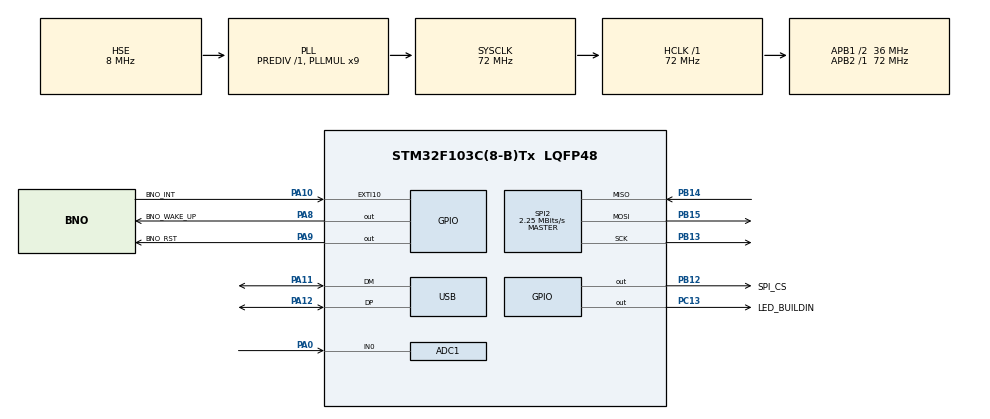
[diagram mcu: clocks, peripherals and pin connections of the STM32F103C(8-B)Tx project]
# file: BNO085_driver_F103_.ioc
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ADC1.Channel-2\#ChannelRegularConversion=ADC_CHANNEL_0
ADC1.NbrOfConversionFlag=1
ADC1.Rank-2\#ChannelRegularConversion=1
ADC1.SamplingTime-2\#ChannelRegularConversion=ADC_SAMPLETIME_1CYCLE_5
ADC1.master=1
Dma.Request0=SPI2_RX
Dma.Request1=SPI2_TX
Dma.SPI2_RX.0.Direction=DMA_PERIPH_TO_MEMORY
Dma.SPI2_RX.0.Instance=DMA1_Channel4
Dma.SPI2_RX.0.MemDataAlignment=DMA_MDATAALIGN_BYTE
Dma.SPI2_RX.0.MemInc=DMA_MINC_ENABLE
Dma.SPI2_RX.0.Mode=DMA_NORMAL
Dma.SPI2_RX.0.PeriphDataAlignment=DMA_PDATAALIGN_BYTE
Dma.SPI2_RX.0.PeriphInc=DMA_PINC_DISABLE
Dma.SPI2_RX.0.Priority=DMA_PRIORITY_LOW
Dma.SPI2_TX.1.Direction=DMA_MEMORY_TO_PERIPH
Dma.SPI2_TX.1.Instance=DMA1_Channel5
Dma.SPI2_TX.1.MemDataAlignment=DMA_MDATAALIGN_BYTE
Dma.SPI2_TX.1.MemInc=DMA_MINC_ENABLE
Dma.SPI2_TX.1.Mode=DMA_NORMAL
Dma.SPI2_TX.1.PeriphDataAlignment=DMA_PDATAALIGN_BYTE
Dma.SPI2_TX.1.PeriphInc=DMA_PINC_DISABLE
Dma.SPI2_TX.1.Priority=DMA_PRIORITY_LOW
FREERTOS.Tasks01=defaultTask,24,128,StartDefaultTask,Default,NULL,Dynamic,NULL,NULL
FREERTOS.configUSE_NEWLIB_REENTRANT=1
Mcu.Family=STM32F1
Mcu.Name=STM32F103C(8-B)Tx
Mcu.Package=LQFP48
NVIC.DMA1_Channel4_IRQn=true\:5\:0\:false\:false\:true\:true\:false\:true\:true
NVIC.DMA1_Channel5_IRQn=true\:5\:0\:false\:false\:true\:true\:false\:true\:true
NVIC.EXTI15_10_IRQn=true\:5\:0\:false\:false\:true\:true\:true\:true\:true
NVIC.PriorityGroup=NVIC_PRIORITYGROUP_4
NVIC.TIM4_IRQn=true\:15\:0\:false\:false\:true\:false\:false\:true\:true
NVIC.TimeBase=TIM4_IRQn
NVIC.TimeBaseIP=TIM4
NVIC.USB_LP_CAN1_RX0_IRQn=true\:5\:0\:false\:false\:true\:true\:false\:true\:true
PA0-WKUP.Signal=ADCx_IN0
PA10.GPIO_Label=BNO_INT
PA10.Signal=GPXTI10
PA11.Mode=Device
PA11.Signal=USB_DM
PA12.Mode=Device
PA12.Signal=USB_DP
PA13.Mode=Serial_Wire
PA13.Signal=SYS_JTMS-SWDIO
PA14.Mode=Serial_Wire
PA14.Signal=SYS_JTCK-SWCLK
PA8.GPIO_Label=BNO_WAKE_UP
PA8.Signal=GPIO_Output
PA9.GPIO_Label=BNO_RST
PA9.Signal=GPIO_Output
PB12.GPIO_Label=SPI_CS
PB12.Signal=GPIO_Output
PB13.Mode=Full_Duplex_Master
PB13.Signal=SPI2_SCK
PB14.Mode=Full_Duplex_Master
PB14.Signal=SPI2_MISO
PB15.Mode=Full_Duplex_Master
PB15.Signal=SPI2_MOSI
PC13-TAMPER-RTC.GPIO_Label=LED_BUILDIN
PC13-TAMPER-RTC.PinState=GPIO_PIN_SET
PC13-TAMPER-RTC.Signal=GPIO_Output
PD0-OSC_IN.Mode=HSE-External-Oscillator
PD0-OSC_IN.Signal=RCC_OSC_IN
PD1-OSC_OUT.Mode=HSE-External-Oscillator
PD1-OSC_OUT.Signal=RCC_OSC_OUT
ProjectManager.HeapSize=0x200
ProjectManager.StackSize=0x400
ProjectManager.TargetToolchain=STM32CubeIDE
RCC.ADCPresc=RCC_ADCPCLK2_DIV6
RCC.AHBFreq_Value=72000000
RCC.APB1CLKDivider=RCC_HCLK_DIV2
RCC.APB1Freq_Value=36000000
RCC.APB1TimFreq_Value=72000000
RCC.APB2Freq_Value=72000000
RCC.APB2TimFreq_Value=72000000
RCC.HCLKFreq_Value=72000000
RCC.PLLMUL=RCC_PLL_MUL9
RCC.PLLSourceVirtual=RCC_PLLSOURCE_HSE
RCC.SYSCLKFreq_VALUE=72000000
RCC.SYSCLKSource=RCC_SYSCLKSOURCE_PLLCLK
RCC.USBFreq_Value=48000000
RCC.USBPrescaler=RCC_USBCLKSOURCE_PLL_DIV1_5
SH.ADCx_IN0.0=ADC1_IN0,IN0
SPI2.BaudRatePrescaler=SPI_BAUDRATEPRESCALER_16
SPI2.CLKPhase=SPI_PHASE_2EDGE
SPI2.CLKPolarity=SPI_POLARITY_HIGH
SPI2.CalculateBaudRate=2.25 MBits/s
SPI2.Direction=SPI_DIRECTION_2LINES
SPI2.Mode=SPI_MODE_MASTER
SPI2.VirtualType=VM_MASTER
USB_DEVICE.CLASS_NAME_FS=CDC
USB_DEVICE.VirtualMode=Cdc
USB_DEVICE.VirtualModeFS=Cdc_FS
VP_FREERTOS_VS_CMSIS_V2.Mode=CMSIS_V2
VP_SYS_VS_tim4.Mode=TIM4
VP_USB_DEVICE_VS_USB_DEVICE_CDC_FS.Mode=CDC_FS
board=custom

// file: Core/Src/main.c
/* USER CODE BEGIN Header */
/**
  ******************************************************************************
  * @file           : main.c
  * @brief          : Main program body
  ******************************************************************************
  * @attention
  *
  * Copyright (c) 2024 STMicroelectronics.
  * All rights reserved.
  *
  * This software is licensed under terms that can be found in the LICENSE file
  * in the root directory of this software component.
  * If no LICENSE file comes with this software, it is provided AS-IS.
  *
  ******************************************************************************
  */
/* USER CODE END Header */
#include "main.h"
#include "cmsis_os.h"
#include "adc.h"
#include "dma.h"
#include "spi.h"
#include "usb_device.h"
#include "gpio.h"

/* USER CODE BEGIN Includes */

#include <stdio.h>
#include <stdbool.h>
#include <string.h>
#include "usbd_cdc_if.h"

#include "BNO080.h"
#include "quaternion.h"

/* USER CODE END Includes */

/* USER CODE BEGIN PV */
extern uint8_t UserTxBufferFS[32];

SPI_HandleTypeDef hspi1;
DMA_HandleTypeDef hdma_spi1_rx;

/* USER CODE END PV */

void SystemClock_Config(void);
void MX_FREERTOS_Init(void);

/* USER CODE BEGIN 0 */

void sendStringOverUSB(char *str) {
    uint16_t len = strlen(str); // Get the length of the string
    CDC_Transmit_FS((uint8_t*)str, len); // Transmit the string over USB
}

/* USER CODE END 0 */

int main(void)
{

  /* USER CODE BEGIN 1 */

	float q[4];
	float quatRadianAccuracy;

  /* USER CODE END 1 */

  /* MCU Configuration--------------------------------------------------------*/

  /* Reset of all peripherals, Initializes the Flash interface and the Systick. */
  HAL_Init();

  /* Configure the system clock */
  SystemClock_Config();

  /* Initialize all configured peripherals */
  MX_GPIO_Init();
  MX_DMA_Init();
  MX_SPI2_Init();
  MX_ADC1_Init();
  /* USER CODE BEGIN 2 */

  BNO080_Initialization();
  HAL_GPIO_TogglePin(GPIOC, GPIO_PIN_13);
  HAL_Delay(100);

  BNO080_enableRotationVector(2500); //enable rotation vector at 400Hz
  HAL_GPIO_TogglePin(GPIOC, GPIO_PIN_13);
  HAL_Delay(100);

  /* USER CODE END 2 */

  /* Init scheduler */
  osKernelInitialize();

  /* Call init function for freertos objects (in cmsis_os2.c) */
  MX_FREERTOS_Init();

  /* Start scheduler */
  osKernelStart();

  /* We should never get here as control is now taken by the scheduler */

  /* Infinite loop */
  /* USER CODE BEGIN WHILE */

  char str[50];

  while (1)
  {
	  //HAL_GPIO_TogglePin(GPIOC, GPIO_PIN_13);
	  if(BNO080_dataAvailable() == 1)
	  	  {
	  		  q[0] = BNO080_getQuatI();
	  		  q[1] = BNO080_getQuatJ();
	  		  q[2] = BNO080_getQuatK();
	  		  q[3] = BNO080_getQuatReal();
	  		  quatRadianAccuracy = BNO080_getQuatRadianAccuracy();

	  		  Quaternion_Update(&q[0]);

	  	      sprintf(str, "%.2f, %.2f, %.2f\r\n", BNO080_Pitch, BNO080_Roll, BNO080_Yaw);

	  	      sendStringOverUSB(str);

	  		  HAL_Delay(5);
	  	  }

    /* USER CODE END WHILE */

  }
}

void SystemClock_Config(void)
{
  RCC_OscInitTypeDef RCC_OscInitStruct = {0};
  RCC_ClkInitTypeDef RCC_ClkInitStruct = {0};
  RCC_PeriphCLKInitTypeDef PeriphClkInit = {0};

  /** Initializes the RCC Oscillators according to the specified parameters
  * in the RCC_OscInitTypeDef structure.
  */
  RCC_OscInitStruct.OscillatorType = RCC_OSCILLATORTYPE_HSE;
  RCC_OscInitStruct.HSEState = RCC_HSE_ON;
  RCC_OscInitStruct.HSEPredivValue = RCC_HSE_PREDIV_DIV1;
  RCC_OscInitStruct.HSIState = RCC_HSI_ON;
  RCC_OscInitStruct.PLL.PLLState = RCC_PLL_ON;
  RCC_OscInitStruct.PLL.PLLSource = RCC_PLLSOURCE_HSE;
  RCC_OscInitStruct.PLL.PLLMUL = RCC_PLL_MUL9;
  if (HAL_RCC_OscConfig(&RCC_OscInitStruct) != HAL_OK)
  {
    Error_Handler();
  }

  /** Initializes the CPU, AHB and APB buses clocks
  */
  RCC_ClkInitStruct.ClockType = RCC_CLOCKTYPE_HCLK|RCC_CLOCKTYPE_SYSCLK
                              |RCC_CLOCKTYPE_PCLK1|RCC_CLOCKTYPE_PCLK2;
  RCC_ClkInitStruct.SYSCLKSource = RCC_SYSCLKSOURCE_PLLCLK;
  RCC_ClkInitStruct.AHBCLKDivider = RCC_SYSCLK_DIV1;
  RCC_ClkInitStruct.APB1CLKDivider = RCC_HCLK_DIV2;
  RCC_ClkInitStruct.APB2CLKDivider = RCC_HCLK_DIV1;

  if (HAL_RCC_ClockConfig(&RCC_ClkInitStruct, FLASH_LATENCY_2) != HAL_OK)
  {
    Error_Handler();
  }
  PeriphClkInit.PeriphClockSelection = RCC_PERIPHCLK_ADC|RCC_PERIPHCLK_USB;
  PeriphClkInit.AdcClockSelection = RCC_ADCPCLK2_DIV6;
  PeriphClkInit.UsbClockSelection = RCC_USBCLKSOURCE_PLL_DIV1_5;
  if (HAL_RCCEx_PeriphCLKConfig(&PeriphClkInit) != HAL_OK)
  {
    Error_Handler();
  }
}

void HAL_TIM_PeriodElapsedCallback(TIM_HandleTypeDef *htim)
{
  if (htim->Instance == TIM4) {
    HAL_IncTick();
  }
}

void Error_Handler(void)
{
  __disable_irq();
  while (1)
  {
  }
}
